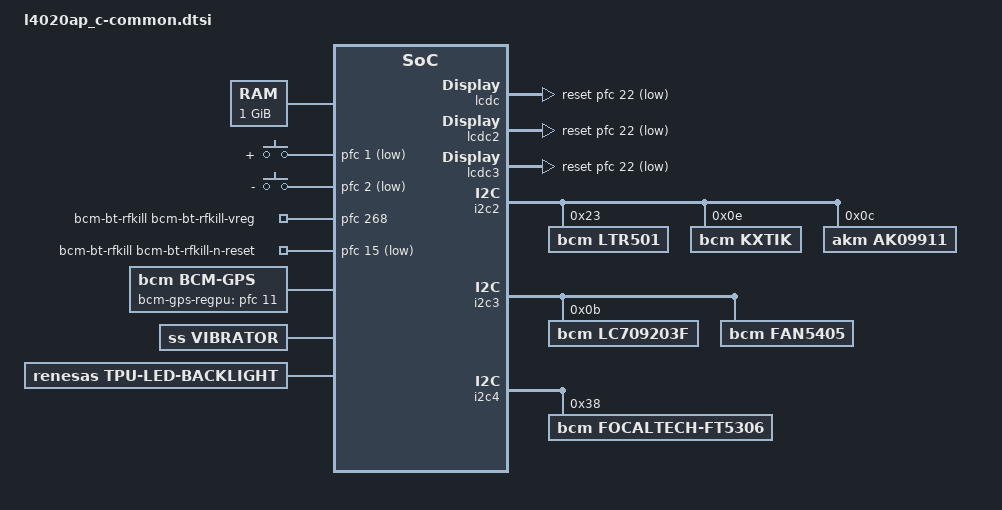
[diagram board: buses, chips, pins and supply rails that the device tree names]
/******************************************************************************/
/*                                                                            */
/* Copyright 2014 Broadcom Corporation                                        */
/*                                                                            */
/* Unless you and Broadcom execute a separate written software license        */
/* agreement governing use of this software, this software is licensed        */
/* to you under the terms of the GNU General Public License version 2         */
/* (the GPL), available at                                                    */
/*                                                                            */
/* http://www.broadcom.com/licenses/GPLv2.php                                 */
/*                                                                            */
/* with the following added to such license:                                  */
/*                                                                            */
/* As a special exception, the copyright holders of this software give        */
/* you permission to link this software with independent modules, and         */
/* to copy and distribute the resulting executable under terms of your        */
/* choice, provided that you also meet, for each linked independent           */
/* module, the terms and conditions of the license of that module.            */
/* An independent module is a module which is not derived from this           */
/* software. The special exception does not apply to any modifications        */
/* of the software.                                                           */
/*                                                                            */
/* Notwithstanding the above, under no circumstances may you combine          */
/* this software in any way with any other Broadcom software provided         */
/* under a license other than the GPL, without Broadcom's express             */
/* prior written consent.                                                     */
/*                                                                            */
/******************************************************************************/

#include "eos-board-common.dtsi"
#include <dt-bindings/gpio/gpio.h>
#include <dt-bindings/input/input.h>

/{
	chosen {
		bootargs = "console=ttySC0,115200 earlyprintk=sh-sci.0,115200";
		/* custom_t:CJ we dont need this for PP now.
		linux,sysrq-reset-seq {
			keyset = <KEY_VOLUMEDOWN KEY_VOLUMEUP>;
			timeout-ms = <3000>;
		};
		*/
	};

	memory@40000000 {
		device_type = "memory";
		reg = <0x40000000 0x40000000>;
	};

	gpio-keys {
		compatible = "gpio-keys";
		#address-cells = <0>;
		#size-cells = <0>;
		pinctrl-names = "default";
		pinctrl-0 = <&key_pins>;

		volume-up {
			label = "+";
			gpios = <&pfc 1 GPIO_ACTIVE_LOW>;
			linux,code = <KEY_VOLUMEUP>;
			gpio-key,wakeup;
		};

		volume-down {
			label = "-";
			gpios = <&pfc 2 GPIO_ACTIVE_LOW>;
			linux,code = <KEY_VOLUMEDOWN>;
			gpio-key,wakeup;
		};
	};

	bcm-bt-rfkill {
		compatible = "bcm,bcm-bt-rfkill";
		bcm-bt-rfkill-vreg-gpio = <&pfc 268 GPIO_ACTIVE_HIGH>;
		bcm-bt-rfkill-n-reset-gpio = <&pfc 15 GPIO_ACTIVE_LOW>;
	};

        wlan-sdio {
                compatible = "brcm,wlan-sdio";
                bcm-wlan-host-wake = <&pfc 98 GPIO_ACTIVE_HIGH>;
                bcm-wlan-reset = <&pfc 260 GPIO_ACTIVE_HIGH>;
        };
/*
	custom_t:CJ we dont have this hw device

	lsm303dl-input {
		compatible = "st,lsm303dl-input";
	};
*/
	sound {
		compatible = "renesas,fsi-snd-d2153";
		renesas,fsia = <&fsia>;
		renesas,fsib = <&fsib>;
		renesas,mclk-freq = <13000000>;
		renesas,audio-routing =
			"RECCHL", "AIFOUTL",
			"RECCHR", "AIFOUTR",
			"AIFINL", "VCLK4",
			"AIFINR", "VCLK4",
			"AIFOUTL", "VCLK4",
			"AIFOUTR", "VCLK4",
			"Headphone Jack Left", "Headphone Left PGA",
			"Headphone Jack Right", "Headphone Right PGA",
			"Speaker", "Speaker PGA",
			"Earpiece", "Earpiece PGA";
	};

	bcm-gps {
		compatible = "bcm,bcm-gps";
		bcm-gps-hostwake = <&pfc 0 GPIO_ACTIVE_HIGH>;
		bcm-gps-regpu-gpio = <&pfc 11 GPIO_ACTIVE_HIGH>;
	};

	vibrator {
		compatible = "ss,vibrator";
		regulator  = "vdd_motor_pmic";
		voltage    = <2800000>;
	};

	backlight {
		compatible = "renesas,tpu-led-backlight";
		renesas,tpu-channel = "TPU0TO3";
		max-brightness = <255>;
		default-brightness = <143>;
		pinctrl-names = "default", "idle";
		pinctrl-0 = <&backlight_pin>;
		pinctrl-1 = <&backlight_pin_hiz>;
	};
};

&lcdc {
	pname = "OTM8018B_DJ";
	reset-gpio = <&pfc 22 GPIO_ACTIVE_LOW>;
	te-irq = <&pfc 27 GPIO_ACTIVE_HIGH>;
	esd-check = <3>; /* 0: Disabled, 1: GPIO, 2: ID SEQ, 3: TE_GPIO video mode only */
	esd-dur-ms = <1000>;
	esd-irq = <&pfc 27 GPIO_ACTIVE_HIGH>;
};

&rt {
	screen0 {
		renesas,height = <800>;
		renesas,width = <480>;
		renesas,stride = <480>;
		renesas,mode = <0>; /* Video Mode */
	};
};

&lcdc2 {
	pname = "NT35512";
	reset-gpio = <&pfc 22 GPIO_ACTIVE_LOW>;
	te-irq = <&pfc 27 GPIO_ACTIVE_HIGH>;
	esd-check = <3>; /* 0: Disabled, 1: GPIO, 2: ID SEQ, 3: TE_GPIO video mode only */
	esd-dur-ms = <1000>;
	esd-irq = <&pfc 27 GPIO_ACTIVE_HIGH>;
};

&rt2 {
	screen0 {
		renesas,height = <800>;
		renesas,width = <480>;
		renesas,stride = <480>;
		renesas,mode = <0>; /* Video Mode */
	};
};
/*custom_t peter  add lcd3 */
&lcdc3 {
	pname = "OTM8018B_BOE";
	reset-gpio = <&pfc 22 GPIO_ACTIVE_LOW>;
	te-irq = <&pfc 27 GPIO_ACTIVE_HIGH>;
	esd-check = <3>; /* 0: Disabled, 1: GPIO, 2: ID SEQ, 3: TE_GPIO video mode only */
	esd-dur-ms = <1000>;
	esd-irq = <&pfc 27 GPIO_ACTIVE_HIGH>;
};

&rt3 {
	screen0 {
		renesas,height = <800>;
		renesas,width = <480>;
		renesas,stride = <480>;
		renesas,mode = <0>; /* Video Mode */
	};
};
     
&pfc {
	hogs {
		unused-pins {
			renesas,groups =
				"scifa0_clk", "scifa1_ctrl", "scifa1_clk",
				"scifb3_data", "vio_cko5", "bsc_rd_we16",
				"bsc_cs0", "bsc_cs2", "bsc_cs4", "bsc_wait",
				"bsc_rdwr", "bsc_data16", "bsc_cko",
				"bsc_addr_0_10","fsib_mclk_in", "sdhi2_data4",
				"sdhi2_ctrl", "sdhi0_wp";
			renesas,pins =
				"PORT3", "PORT6", "PORT8", "PORT10", "PORT14",
				"PORT17", "PORT18", "PORT23", "PORT24", "PORT25",
				"PORT26", "PORT29", "PORT33", "PORT44", "PORT46",
				"PORT47", "PORT72", "PORT73", "PORT74",
				"PORT75", "PORT80", "PORT81", "PORT82",
				"PORT83", "PORT86", "PORT87", "PORT88",
				"PORT89", "PORT90", "PORT96", "PORT97",
				"PORT102", "PORT103", "PORT104", "PORT105",
				"PORT107", "PORT110", "PORT140", "PORT141",
				"PORT142", "PORT198", "PORT199", "PORT275",
				"PORT276", "PORT277", "PORT311", "PORT312";
			bias-pull-down;
		};
	};

	key_pins: keys {
		renesas,pins = "PORT1", "PORT2";
		bias-pull-up;
	};

	backlight_pin: backlight {
		renesas,groups = "tpu0_to3";
		renesas,function = "tpu0";
	};

	backlight_pin_hiz: backlight_hiz {
		renesas,groups = "tpu0_to3";
		bias-high-impedance;
	};
};

&i2c2 {
	#address-cells = <1>;
	#size-cells = <0>;

	/* Proximity Sensor */
	ltr501: ltr501@23 {
		compatible = "bcm,ltr501";
		reg = <0x23>;
		gpio-irq-pin = <108>;
		ps_contr = <0x00>;
		ps_n_pusles = <0x32>;
		prox_threshold_low = <65>;
		prox_threshold_high = <70>;
		prox_offset_param = <8>;
		scale_factor = <4>;
	};

	/* Accelerometer sensor */
	kxtik: kxtik@0e {
		compatible = "bcm,kxtik";
		/* slave address */
		reg = <0x0e>;
		min_interval = <5>;
		poll_interval = <200>;
		axis_map_x = <0>;
		axis_map_y = <1>;
		axis_map_z = <2>;
		negate_x = <0>;
		negate_y = <1>;
		negate_z = <1>;
		res_12bit = <64>;
		g_range = <0>;
	};

	/* Magnetometer Sensor */
	ak09911: ak09911@0c {
		compatible = "akm, ak09911";
		/* slave address */
		reg = <0x0c>;
	};
};

/* custom_t:CJ this is brcm path, dont remove it */
&i2c3 {
        lc709203f@0x0B {
                compatible = "bcm,lc709203f";
                reg = <0x0B>;
                initial-rsoc = <0xAA55>;
                appli-adjustment = <0x0024>;
                change-of-param = <1>;
                kernel-threshold-soc = <9>;
                kernel-maximum-soc = <957>;
                kernel-1stcharge-soc = <995>;
                kernel-recharge-soc = <960>;
                kernel-bakcharge-soc = <999>;
        };
        fan5405@0x6A {
                compatible = "bcm,fan5405";
                sense_r = <51>;
        };
};
&i2c4 {
	FocalTech-Ft5306@38 {
		compatible = "bcm,FocalTech-Ft5306";
		reg = <0x38>;
		gpio-irq-pin = <30>;
		gpio-reset-pin = <21>;
		gpio-wakeup-pin = <21>;
		x-max-value = <480>;
		y-max-value = <800>;
		use-irq = <1>;
		power = "vtsp_3v";
		auto_update_fw = <0>;
		vkey_scope = "0x01:139:70:845:80:40:0x01:102:240:845:80:40:0x01:158:415:845:160:80\n";
	};
};

&cmt17 {
	renesas,linux-timer-type = "rtc";
};
